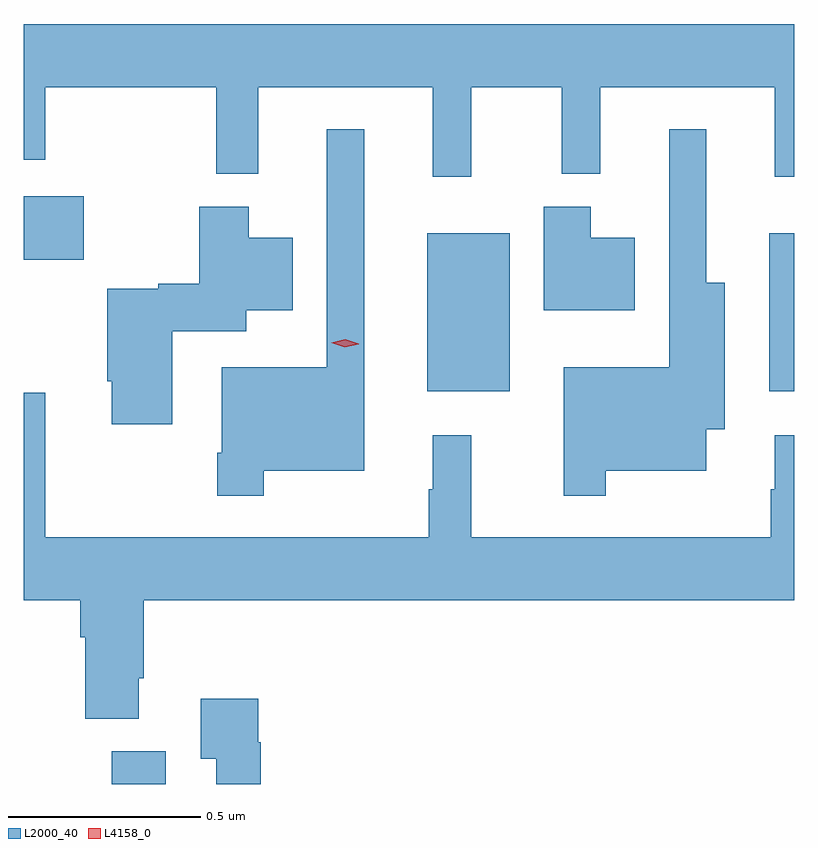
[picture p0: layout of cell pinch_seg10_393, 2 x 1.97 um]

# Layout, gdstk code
import gdstk
lib = gdstk.Library(unit=1e-6, precision=1e-09)
def R(c, l, rs):  # rectangles x0, y0, x1, y1
    for r in rs: c.add(gdstk.rectangle(r[:2], r[2:], *l))
def P(c, l, *ps):  # polygons
    for p in ps: c.add(gdstk.Polygon(p, *l))
L2000_40 = (2000, 40)
L4158_0 = (4158, 0)

pinch_seg10_393 = lib.new_cell('pinch_seg10_393')
R(pinch_seg10_393, L2000_40, [(548.96,1273.199,549.1,1273.284), (549.779,1274.219,549.994,1274.629), (550.667,1274.219,550.732,1274.629), (548.732,1274.56,548.887,1274.725)])
P(pinch_seg10_393, L2000_40, [(549.894,1275.008),(550.129,1275.008),(550.129,1274.783),(550.229,1274.783),(550.229,1275.008),(550.682,1275.008),(550.682,1274.775),(550.732,1274.775),(550.732,1275.172),(548.732,1275.172),(548.732,1274.82),(548.788,1274.82),(548.788,1275.008),(549.231,1275.008),(549.231,1274.783),(549.341,1274.783),(549.341,1275.008),(549.794,1275.008),(549.794,1274.775),(549.894,1274.775)],
  [(549.355,1274.012),(549.616,1274.012),(549.616,1274.899),(549.519,1274.899),(549.519,1274.281),(549.246,1274.281),(549.246,1274.059),(549.234,1274.059),(549.234,1273.947),(549.355,1273.947)],
  [(550.243,1274.012),(550.504,1274.012),(550.504,1274.12),(550.552,1274.12),(550.552,1274.5),(550.504,1274.5),(550.504,1274.899),(550.407,1274.899),(550.407,1274.281),(550.134,1274.281),(550.134,1273.947),(550.243,1273.947)],
  [(550.318,1274.617),(550.204,1274.617),(550.204,1274.698),(550.082,1274.698),(550.082,1274.429),(550.318,1274.429)],
  [(549.118,1274.375),(549.31,1274.375),(549.31,1274.429),(549.43,1274.429),(549.43,1274.617),(549.316,1274.617),(549.316,1274.698),(549.187,1274.698),(549.187,1274.498),(549.081,1274.498),(549.081,1274.485),(548.948,1274.485),(548.948,1274.245),(548.96,1274.245),(548.96,1274.133),(549.118,1274.133)],
  [(549.031,1273.474),(549.044,1273.474),(549.044,1273.676),(550.732,1273.676),(550.732,1274.104),(550.682,1274.104),(550.682,1273.964),(550.671,1273.964),(550.671,1273.84),(549.894,1273.84),(549.894,1274.104),(549.794,1274.104),(549.794,1273.964),(549.783,1273.964),(549.783,1273.84),(548.788,1273.84),(548.788,1274.215),(548.732,1274.215),(548.732,1273.676),(548.879,1273.676),(548.879,1273.58),(548.891,1273.58),(548.891,1273.369),(549.031,1273.369)],
  [(549.347,1273.307),(549.34,1273.307),(549.34,1273.42),(549.191,1273.42),(549.191,1273.264),(549.231,1273.264),(549.231,1273.199),(549.347,1273.199)])
P(pinch_seg10_393, L4158_0, [(549.565,1274.333),(549.53,1274.344),(549.53,1274.344),(549.53,1274.345),(549.566,1274.353),(549.601,1274.342),(549.601,1274.341),(549.601,1274.341)])

lib.write_gds('pinch_seg10_393.gds')
